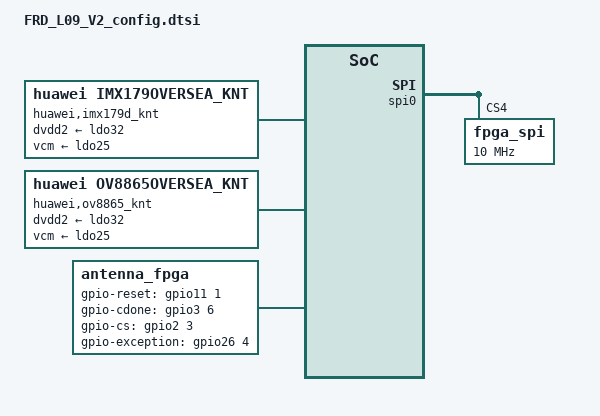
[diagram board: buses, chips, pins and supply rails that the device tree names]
/**
 * Copyright (C) 2014 Hisilicon Ltd.
 *
 *  This program is free software; you can redistribute it and/or modify
 *  it under the terms of the GNU General Public License version 2 as
 *  publishhed by the Free Software Foundation.
 */

/include/ "FRD_TUGL_V2_config.dtsi"
/ {
	hisi,boardid = <3 9 5 0>;
	hisi,boardname = "FRD_L09_V2";
	hisi,modem_id = <0x3C611000>;
	hisi,product_name = "FRD-L09";

	amba {
		i2c4: i2c@FDF0D000 {
			pn547_nfc:nfc@28 {
				status = "disabled";
			};
		};
	};
	nfc_exist {
		nfc_exist_flag = "0";
		status = "disabled";
	};
	devcheck: devcheck {
		nfc = <0>;
	};
	ese_config {
		status = "disabled";
	};

	huawei,imx286d_knt{
		compatible = "huawei,imx286dOversea_knt";
		huawei,ldo-names = "vcm", "vcm2";
	};
	huawei,imx179d_knt{
		compatible = "huawei,imx179Oversea_knt";
		dvdd2-supply = <&ldo32>;
		vcm-supply = <&ldo25>;
		huawei,ldo-names = "dvdd2", "vcm";
	};
	huawei,ov8865_knt{
		compatible = "huawei,ov8865Oversea_knt";
		dvdd2-supply = <&ldo32>;
		vcm-supply = <&ldo25>;
		huawei,ldo-names = "dvdd2", "vcm";
	};

	antenna_fpga{
		compatible = "antenna_fpga";
		antenna_fpga,gpio-reset= <&gpio11 1 0>;
		antenna_fpga,gpio-cdone = <&gpio3 6 0>;
		antenna_fpga,gpio-cs = <&gpio2 3 0>;
		antenna_fpga,pre-image-filename = "FRD-L09-V2.bin";
		antenna_fpga,gpio-exception = <&gpio26 4 0>;
		antenna_fpga,power-disable = <1>;
		status = "ok";
	};

	amba{
		spi0: spi@ffd70000{
			num-cs = <0x5>;
			fpga_spi: fpga_spi@4 {
				compatible = "fpga_spi";
				spi-max-frequency = <0x989680>;
				reg = <4>;
				pl022,com-mode = <2>;
				pl022,interface = <0>;
				pl022,rx-level-trig = <3>;
				pl022,tx-level-trig = <3>;
				pl022,ctrl-len = <7>;
				pl022,wait-state = <0>;
				pl022,duplex = <0>;
				pl022,slave-tx-disable = <0>;
			};
		};
	};

};
